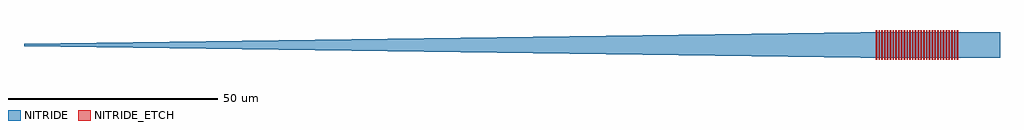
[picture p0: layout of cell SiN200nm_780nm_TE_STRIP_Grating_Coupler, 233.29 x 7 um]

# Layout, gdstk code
import gdstk
lib = gdstk.Library(unit=1e-6, precision=1e-09)
def R(c, l, rs):  # rectangles x0, y0, x1, y1
    for r in rs: c.add(gdstk.rectangle(r[:2], r[2:], *l))
def A(c, l, x, y, w, h, nx, ny, dx, dy):  # array of equal rectangles
    R(c, l, [(x+i*dx, y+j*dy, x+i*dx+w, y+j*dy+h) for i in range(nx) for j in range(ny)])
def P(c, l, *ps):  # polygons
    for p in ps: c.add(gdstk.Polygon(p, *l))
NITRIDE = (203, 0)
NITRIDE_ETCH = (204, 0)

sin200nm_780nm_te_strip_ = lib.new_cell('SiN200nm_780nm_TE_STRIP_Grating_Coupler')
R(sin200nm_780nm_te_strip_, NITRIDE, [(200,-3,233.288,3)])
P(sin200nm_780nm_te_strip_, NITRIDE, [(200,-3),(0,-0.25),(0,0.25),(200,3)])
A(sin200nm_780nm_te_strip_, NITRIDE_ETCH, 203.594, -3.5, 0.334, 7, 30, 1, 0.668, 0)

lib.write_gds('SiN200nm_780nm_TE_STRIP_Grating_Coupler.gds')
